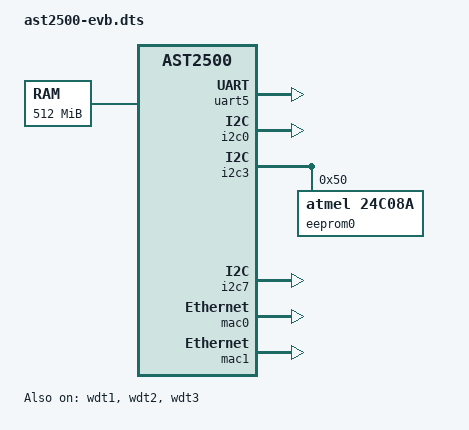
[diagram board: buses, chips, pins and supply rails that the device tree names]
/dts-v1/;

#include "ast2500-u-boot.dtsi"

/ {
	memory {
		device_type = "memory";
		reg = <0x80000000 0x20000000>;
	};

	chosen {
		stdout-path = &uart5;
	};
};

&uart5 {
	u-boot,dm-pre-reloc;
	status = "okay";
};

&sdrammc {
	clock-frequency = <400000000>;
};

&wdt1 {
	u-boot,dm-pre-reloc;
	status = "okay";
};

&wdt2 {
	u-boot,dm-pre-reloc;
	status = "okay";
};

&wdt3 {
	u-boot,dm-pre-reloc;
	status = "okay";
};

&i2c0 {
	status = "okay";
};

&i2c3 {
	status = "okay";

	eeprom0: eeprom@50 {
		compatible = "atmel,24c08a", "i2c-eeprom";
		reg = <0x50>;
	};
};

&i2c7 {
	status = "okay";
};

&mac0 {
	compatible = "aspeed,ast2500-nic";
	status = "okay";
	pinctrl-names = "default";
	pinctrl-0 = <&pinctrl_mac1link_default>, <&pinctrl_mdio1_default>;
};

&mac1 {
	compatible = "aspeed,ast2500-nic";
	status = "okay";
	pinctrl-names = "default";
	pinctrl-0 = <&pinctrl_mac2link_default>, <&pinctrl_mdio2_default>;
};
